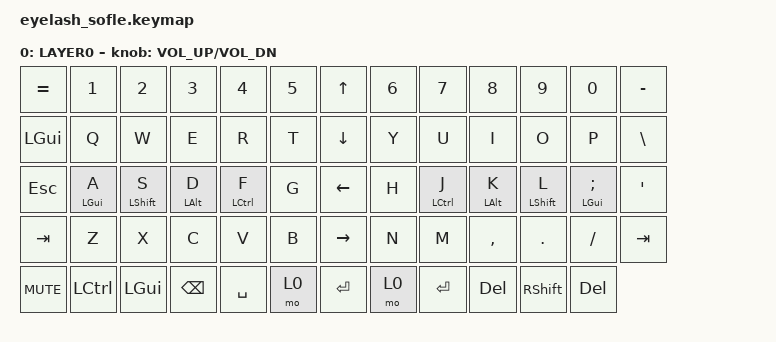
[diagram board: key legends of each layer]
#define ZMK_POINTING_DEFAULT_MOVE_VAL 1200  // 600
#define ZMK_POINTING_DEFAULT_SCRL_VAL 25   // 10

#include <input/processors.dtsi>
#include <zephyr/dt-bindings/input/input-event-codes.h>
#include <behaviors.dtsi>
#include <dt-bindings/zmk/keys.h>
#include <dt-bindings/zmk/pointing.h>

&mmv_input_listener { input-processors = <&zip_xy_scaler 2 1>; };

&msc_input_listener { input-processors = <&zip_scroll_scaler 2 1>; };

&msc {
    acceleration-exponent = <1>;      // 0
    time-to-max-speed-ms = <100>;       // 300
    delay-ms = <0>;                   // 0
};

&mmv {
    time-to-max-speed-ms = <500>;
    acceleration-exponent = <1>;
    trigger-period-ms = <16>;
};

/ {
    scroll_encoder: scroll_encoder {
        compatible = "zmk,behavior-sensor-rotate";
        #sensor-binding-cells = <0>;
        bindings = <&msc SCRL_DOWN>, <&msc SCRL_UP>;

        tap-ms = <100>;
    };

    behaviors {
    };

    keymap {
        compatible = "zmk,keymap";

        layer0 {
            bindings = <
&kp EQUAL     &kp N1          &kp N2        &kp N3         &kp N4       &kp N5    &kp UP_ARROW     &kp N6  &kp N7       &kp N8      &kp N9           &kp N0         &kp MINUS
&kp LEFT_GUI  &kp Q           &kp W         &kp E          &kp R        &kp T     &kp DOWN_ARROW   &kp Y   &kp U        &kp I       &kp O            &kp P          &kp BSLH
&kp ESC       &mt LEFT_GUI A  &mt LSHFT S   &mt LALT D     &mt LCTRL F  &kp G     &kp LEFT_ARROW   &kp H   &mt LCTRL J  &mt LALT K  &mt LSHFT L      &mt LGUI SEMI  &kp APOS
&kp TAB       &kp Z           &kp X         &kp C          &kp V        &kp B     &kp RIGHT_ARROW  &kp N   &kp M        &kp COMMA   &kp DOT          &kp FSLH       &kp TAB
&kp C_MUTE    &kp LCTRL       &kp LEFT_GUI  &kp BACKSPACE  &kp SPACE    &mo 0     &kp ENTER        &mo 0   &kp ENTER    &kp DEL     &kp RIGHT_SHIFT  &kp DELETE
            >;

            sensor-bindings = <&inc_dec_kp C_VOLUME_UP C_VOL_DN>;
            display-name = "LAYER0";
        };
    };
};
